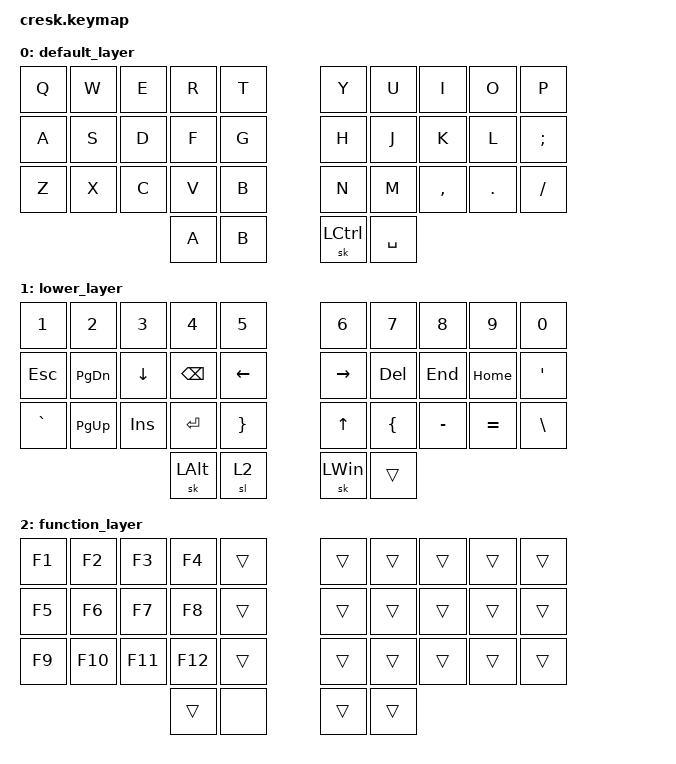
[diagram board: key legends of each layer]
/*
 * Copyright (c) 2022 The ZMK Contributors
 *
 * SPDX-License-Identifier: MIT
 */

#include <behaviors.dtsi>
#include <dt-bindings/zmk/keys.h>

&sk {
    release-after-ms = <60000>;
};

&sl {
    release-after-ms = <60000>;
};

&caps_word {
    continue-list = <LEFT_SHIFT MINUS>;
};

/ {
    behaviors {
        td0: tap_dance_0 {
            compatible = "zmk,behavior-tap-dance";
            label = "TAP_DANCE_0";
            #binding-cells = <0>;
            tapping-term-ms = <60000>;
            bindings = <&sk LSHIFT>, <&caps_word>;
        };
        cl: ctrl_layer {
            compatible = "zmk,behavior-mod-morph";
            label = "CTRL_LAYER";
            #binding-cells = <0>;
            bindings = <&sl 1>, <&sl LC(1)>;
            mods = <(MOD_LCTL)>;
        };
    };

    keymap {
        compatible = "zmk,keymap";

        default_layer {
            bindings = <
&kp Q     &kp W     &kp E     &kp R    &kp T    &kp Y     &kp U    &kp I     &kp O     &kp P
&kp A     &kp S     &kp D     &kp F    &kp G    &kp H     &kp J    &kp K     &kp L     &kp SEMI
&kp Z     &kp X     &kp C     &kp V    &kp B    &kp N     &kp M    &kp COMMA &kp DOT   &kp FSLH
//&td0      &sl LC(1)     &sk LCTRL &kp SPACE
&kp A &kp B &sk LCTRL &kp SPACE
            >;
        };

        lower_layer {
            bindings = <
&kp N1    &kp N2    &kp N3    &kp N4   &kp N5   &kp N6    &kp N7   &kp N8    &kp N9    &kp N0
&kp ESC   &kp PG_DN &kp DOWN  &kp BSPC &kp LEFT &kp RIGHT &kp DEL  &kp END   &kp HOME  &kp SQT
&kp GRAVE &kp PG_UP &kp INS   &kp RET  &kp RBRC &kp UP    &kp LBRC &kp MINUS &kp EQUAL &kp BSLH
&sk LALT  &sl 2     &sk LWIN  &trans
            >;
        };

        function_layer {
            bindings = <
&kp F1    &kp F2    &kp F3    &kp F4   &trans   &trans    &trans   &trans    &trans    &trans
&kp F5    &kp F6    &kp F7    &kp F8   &trans   &trans    &trans   &trans    &trans    &trans
&kp F9    &kp F10   &kp F11   &kp F12  &trans   &trans    &trans   &trans    &trans    &trans
&trans    &none     &trans    &trans
            >;
        };
    };
};
